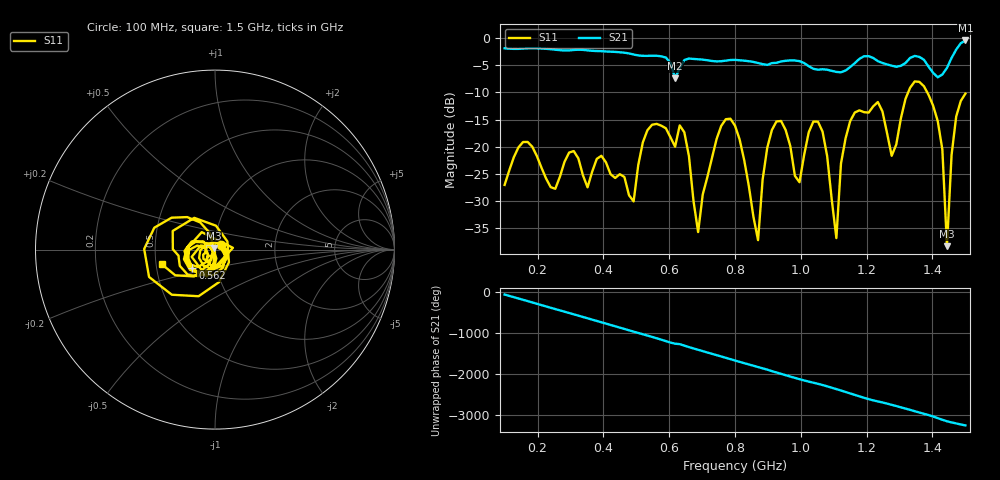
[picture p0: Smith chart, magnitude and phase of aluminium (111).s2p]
! NanoVNA-App
! Date: 2025-09-25 14:56:08
! Start: 100MHz Stop: 1,5GHz Points: 101
! S-Parameter data: F S11 S21 S12 S22
# Hz S RI R 50
!  Frequency  S11_Real  S11_Imag  S21_Real  S21_Imag  S12_Real  S12_Imag  S22_Real  S22_Imag
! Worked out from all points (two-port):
!   101 points, 100 MHz to 1.5 GHz, reference 50 ohm
!   highest |S21| = -0.48 dB at 1.5 GHz (marker M1); lowest = -7.4 dB at 618 MHz (marker M2)
!   |S21| within 3 dB of the highest: start of sweep to 581.3 MHz; 1.46 GHz to end of sweep (the widest 2 of 4)
!   lowest |S11| = -38.2 dB at 1.444 GHz (marker M3), VSWR 1.02, Z = 49.2 + j0.894 ohm
!   |S11| at or under -10 dB: start of sweep to 1.326 GHz; 1.384 GHz to end of sweep
!   S12 and S22 are empty: the file has one direction only
!   S11 on the Smith chart (normalised r, x): 100 MHz: 1.07, +0.06; 562 MHz: 0.76, -0.16; 1.5 GHz: 0.54, -0.10
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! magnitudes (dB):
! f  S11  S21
! 100 MHz  -27.0  -1.9
! 338 MHz  -25.2  -2.2
! 492 MHz  -30.0  -3.1
! 562 MHz  -15.8  -3.3
! 576 MHz  -16.1  -3.4
! 618 MHz  -20.0  -7.4
! 646 MHz  -17.3  -4.1
! 688 MHz  -35.7  -3.9
! 800 MHz  -16.1  -4.0
! 870 MHz  -37.1  -4.6
! 912 MHz  -16.9  -4.6
! 996 MHz  -26.5  -4.3
! 1.038 GHz  -15.4  -5.7
! 1.108 GHz  -36.8  -6.3
! 1.122 GHz  -23.1  -6.3
! 1.164 GHz  -13.7  -4.6
! 1.276 GHz  -21.7  -5.1
! 1.374 GHz  -8.9  -4.0
! 1.43 GHz  -20.5  -6.7
! 1.444 GHz  -38.2  -5.5
! 1.472 GHz  -14.5  -2.2
! 1.5 GHz  -10.2  -0.5
